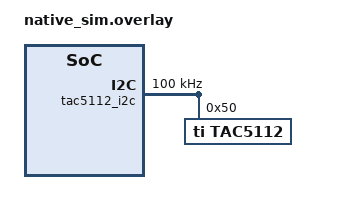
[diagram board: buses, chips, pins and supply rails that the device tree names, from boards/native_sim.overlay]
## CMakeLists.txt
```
# Copyright (c) 2026 Nordic Semiconductor ASA
# SPDX-License-Identifier: Apache-2.0

cmake_minimum_required(VERSION 3.20.0)
find_package(Zephyr REQUIRED HINTS $ENV{ZEPHYR_BASE})
project(tac5112)

target_sources(app PRIVATE src/main.c)
```

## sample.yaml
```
sample:
  name: TAC5112 audio codec
  description: >
    Configure and drive a TI TAC5112 stereo audio codec through the Zephyr
    audio codec API: tone playback and an ADC-to-DAC loopback. Runs on the
    Nordic nRF54LM20 DK (TDM) or nRF5340 DK (I2S) against a real codec, or
    on native_sim against the mock.

common:
  tags:
    - audio
    - codec
  harness: console
  harness_config:
    type: one_line
    regex:
      - "TAC5112 sample complete"

tests:
  sample.drivers.audio.tac5112:
    platform_allow:
      - native_sim
      - native_sim/native/64
      - nrf54lm20dk/nrf54lm20a/cpuapp
      - nrf5340dk/nrf5340/cpuapp
      - nrf5340_audio_dk/nrf5340/cpuapp
    integration_platforms:
      - native_sim
```

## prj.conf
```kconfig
# Copyright (c) 2026 Nordic Semiconductor ASA
# SPDX-License-Identifier: Apache-2.0

CONFIG_LOG=y

CONFIG_AUDIO=y
CONFIG_AUDIO_CODEC=y
CONFIG_AUDIO_TAC5112=y

CONFIG_I2C=y
CONFIG_GPIO=y

# Needed only if you enable the optional I2S tone playback (tac5112-i2s
# alias). Harmless to leave on otherwise.
CONFIG_I2S=y
```

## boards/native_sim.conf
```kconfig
# Copyright (c) 2026 Nordic Semiconductor ASA
# SPDX-License-Identifier: Apache-2.0
#
# native_sim-only: pull in the emulation subsystem and the TAC5112 I2C mock
# so the sample runs with no physical codec.

CONFIG_EMUL=y
CONFIG_AUDIO_TAC5112_EMUL=y
```

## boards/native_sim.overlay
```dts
/*
 * Copyright (c) 2026 Nordic Semiconductor ASA
 * SPDX-License-Identifier: Apache-2.0
 *
 * Runs the sample against the software TAC5112 mock (no hardware). Declares
 * its own zephyr,i2c-emul-controller so it does not depend on the board
 * shipping an emulated I2C bus.
 */

#include <zephyr/dt-bindings/i2c/i2c.h>

/ {
	aliases {
		tac5112-0 = &tac5112;
	};

	tac5112_i2c: i2c@100 {
		status = "okay";
		compatible = "zephyr,i2c-emul-controller";
		reg = <0x100 4>;
		clock-frequency = <I2C_BITRATE_STANDARD>;
		#address-cells = <1>;
		#size-cells = <0>;

		tac5112: audio-codec@50 {
			compatible = "ti,tac5112";
			reg = <0x50>;
		};
	};
};
```

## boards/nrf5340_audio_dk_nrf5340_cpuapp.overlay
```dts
/*
 * Copyright (c) 2026 Nordic Semiconductor ASA
 * SPDX-License-Identifier: Apache-2.0
 *
 * TAC5112 on an nRF5340 Audio DK, wired to the EXT P10 codec-interface
 * connector.
 */

#include <zephyr/dt-bindings/i2c/i2c.h>
#include <zephyr/dt-bindings/gpio/gpio.h>

&i2c1 {
	status = "okay";
	clock-frequency = <I2C_BITRATE_STANDARD>;

	tac5112: audio-codec@50 {
		compatible = "ti,tac5112";
		reg = <0x50>; /* ADDR strapped to GND */
		fault-gpios = <&gpio0 19 GPIO_ACTIVE_LOW>;
	};
};

&gpio0 {
	codec-interface {
		/delete-property/ output-low;
		output-high;
	};
};

&i2s0 {
	status = "okay";
	pinctrl-0 = <&i2s0_default>;
	pinctrl-1 = <&i2s0_sleep>;
	pinctrl-names = "default", "sleep";
};

/ {
	aliases {
		tac5112-i2s = &i2s0;
	};
};
```

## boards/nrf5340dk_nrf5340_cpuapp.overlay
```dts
/*
 * Copyright (c) 2026 Nordic Semiconductor ASA
 * SPDX-License-Identifier: Apache-2.0
 *
 * TAC5112 on an nRF5340 DK.
 */

#include <zephyr/dt-bindings/i2c/i2c.h>
#include <zephyr/dt-bindings/gpio/gpio.h>

&i2c1 {
	status = "okay";
	clock-frequency = <I2C_BITRATE_STANDARD>;

	tac5112: audio-codec@50 {
		compatible = "ti,tac5112";
		reg = <0x50>; /* ADDR strapped to GND */

		/* Optional codec IRQ line. Uncomment and set to the GPIO you
		 * wired the codec's GPIO1 (interrupt output) to, active low:
		 *   fault-gpios = <&gpio1 8 GPIO_ACTIVE_LOW>;
		 */
	};
};

&pinctrl {
	i2s0_tac5112_default: i2s0_tac5112_default {
		group1 {
			/* TODO: set to your wiring. Placeholders on port 1. */
			psels = <NRF_PSEL(I2S_SCK_M, 1, 10)>,  /* BCLK  -> codec BCLK  */
				<NRF_PSEL(I2S_LRCK_M, 1, 11)>, /* LRCLK -> codec FSYNC */
				<NRF_PSEL(I2S_SDOUT, 1, 12)>,  /* SDOUT -> codec DIN   */
				<NRF_PSEL(I2S_SDIN, 1, 13)>;   /* SDIN  <- codec DOUT  */
		};
	};

	i2s0_tac5112_sleep: i2s0_tac5112_sleep {
		group1 {
			psels = <NRF_PSEL(I2S_SCK_M, 1, 10)>,
				<NRF_PSEL(I2S_LRCK_M, 1, 11)>,
				<NRF_PSEL(I2S_SDOUT, 1, 12)>,
				<NRF_PSEL(I2S_SDIN, 1, 13)>;
			low-power-enable;
		};
	};
};

&i2s0 {
	status = "okay";
	pinctrl-0 = <&i2s0_tac5112_default>;
	pinctrl-1 = <&i2s0_tac5112_sleep>;
	pinctrl-names = "default", "sleep";
};

/ {
	aliases {
		tac5112-i2s = &i2s0;
	};
};
```

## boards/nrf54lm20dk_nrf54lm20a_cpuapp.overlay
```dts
/*
 * Copyright (c) 2026 Nordic Semiconductor ASA
 * SPDX-License-Identifier: Apache-2.0
 *
 * Wires a physical TAC5112 to the nRF54LM20 DK for this sample: control
 * over the &i2c22 TWIM instance, with optional reset and fault GPIOs.
 */

#include <zephyr/dt-bindings/i2c/i2c.h>
#include <zephyr/dt-bindings/gpio/gpio.h>

&pinctrl {
	i2c22_tac5112_default: i2c22_tac5112_default {
		group1 {
			psels = <NRF_PSEL(TWIM_SCL, 1, 7)>,
				<NRF_PSEL(TWIM_SDA, 1, 6)>;
			bias-pull-up;
		};
	};

	i2c22_tac5112_sleep: i2c22_tac5112_sleep {
		group1 {
			psels = <NRF_PSEL(TWIM_SCL, 1, 7)>,
				<NRF_PSEL(TWIM_SDA, 1, 6)>;
			low-power-enable;
		};
	};
};

&i2c22 {
	status = "okay";
	compatible = "nordic,nrf-twim";
	clock-frequency = <I2C_BITRATE_STANDARD>;
	pinctrl-0 = <&i2c22_tac5112_default>;
	pinctrl-1 = <&i2c22_tac5112_sleep>;
	pinctrl-names = "default", "sleep";

	tac5112: audio-codec@50 {
		compatible = "ti,tac5112";
		reg = <0x50>;
		fault-gpios = <&gpio3 2 GPIO_ACTIVE_LOW>;
	};
};

&pinctrl {
	tdm_tac5112_default: tdm_tac5112_default {
		group1 {
			psels = <NRF_PSEL(TDM_SCK_M, 1, 3)>,
				<NRF_PSEL(TDM_FSYNC_M, 1, 0)>,
				<NRF_PSEL(TDM_SDOUT, 1, 13)>,
				/* codec DOUT (ADC data) -> nRF SDIN: EXP C4 -> P1.05 */
				<NRF_PSEL(TDM_SDIN, 1, 5)>;
		};
	};

	tdm_tac5112_sleep: tdm_tac5112_sleep {
		group1 {
			psels = <NRF_PSEL(TDM_SCK_M, 1, 3)>,
				<NRF_PSEL(TDM_FSYNC_M, 1, 0)>,
				<NRF_PSEL(TDM_SDOUT, 1, 13)>,
				/* codec DOUT (ADC data) -> nRF SDIN: EXP C4 -> P1.05 */
				<NRF_PSEL(TDM_SDIN, 1, 5)>;
			low-power-enable;
		};
	};
};

&tdm {
	status = "okay";
	pinctrl-0 = <&tdm_tac5112_default>;
	pinctrl-1 = <&tdm_tac5112_sleep>;
	pinctrl-names = "default", "sleep";
};

/ {
	aliases {
		tac5112-i2s = &tdm;
	};
};
```

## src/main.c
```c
/*
 * Copyright (c) 2026 Nordic Semiconductor ASA
 *
 * SPDX-License-Identifier: Apache-2.0
 *
 * Sample application for the Texas Instruments TAC5112 stereo audio codec,
 * driven through the standard Zephyr audio codec interface
 * (<zephyr/audio/codec.h>). It targets a Nordic nRF54LM20 DK controlling
 * the codec over I2C; the codec is selected from the devicetree by
 * compatible, so the same source runs unmodified against the software I2C
 * mock on native_sim.
 *
 * The sample walks the codec control surface the driver implements:
 *   1. register a fault callback,
 *   2. configure the audio serial interface (I2S target, 48 kHz, stereo,
 *      16-bit) -- this also brings the codec out of reset/sleep and runs
 *      the recommended automatic PLL/clock configuration,
 *   3. set the output volume and unmute,
 *   4. power up the DAC (start_output),
 *   5. optionally stream a 1 kHz test tone over I2S (see TONE section),
 *   6. demonstrate a volume ramp and a mute/unmute cycle,
 *   7. power down (stop_output).
 *
 * Only the public codec API is used -- the private driver header
 * (tac5112.h) is intentionally NOT included.
 */

#include <zephyr/kernel.h>
#include <zephyr/device.h>
#include <zephyr/audio/codec.h>
#include <zephyr/drivers/i2s.h>
#include <zephyr/logging/log.h>

LOG_MODULE_REGISTER(tac5112_sample, LOG_LEVEL_INF);

#if !DT_HAS_COMPAT_STATUS_OKAY(ti_tac5112)
#error "No enabled ti,tac5112 node in the devicetree. " \
       "Add the board overlay (see boards/ and README.rst)."
#endif

/* Pick the (single) enabled TAC5112 straight from the devicetree. */
#define CODEC_NODE DT_COMPAT_GET_ANY_STATUS_OKAY(ti_tac5112)

/* The codec/driver expresses volume in 0.5 dB steps (val.vol == dB * 2). */
#define HALF_DB(db) ((int)((db) * 2))

/* Audio serial interface parameters shared by the codec and (optionally)
 * the I2S peripheral feeding it.
 */
#define AUDIO_SAMPLE_RATE_HZ 48000U
#define AUDIO_WORD_BITS      16U
#define AUDIO_CHANNELS       2U

static const struct device *const codec = DEVICE_DT_GET(CODEC_NODE);

/*
 * ---------------------------------------------------------------------
 * Fault handling
 * ---------------------------------------------------------------------
 */
static void codec_fault_handler(const struct device *dev, uint32_t errors)
{
	/* Runs from the driver's workqueue context when the codec asserts its
	 * fault/IRQ line. On the nRF54LM20 DK that line is the codec's GPIO1,
	 * wired via EXP D2 -> P3.02 (fault-gpios in the overlay); the driver
	 * enables the output short-circuit / virtual-ground fault interrupts
	 * in audio_codec_configure().
	 */
	LOG_ERR("codec reported fault(s): 0x%08x", errors);

	if (errors & AUDIO_CODEC_ERROR_OVERCURRENT) {
		LOG_ERR("  - output over-current / short circuit");
	}
	if (errors & AUDIO_CODEC_ERROR_DC) {
		LOG_ERR("  - output DC / virtual-ground fault");
	}
	if (errors & AUDIO_CODEC_ERROR_UNDERVOLTAGE) {
		LOG_ERR("  - supply under-voltage / brown-out");
	}

	/* Acknowledge the fault: read-clears the codec's latched fault
	 * registers so it de-asserts the IRQ line and can flag the next event.
	 * Safe to call here -- the driver invokes this callback without holding
	 * its internal lock.
	 */
	(void)audio_codec_clear_errors(dev);
}

/*
 * ---------------------------------------------------------------------
 * Codec setup
 * ---------------------------------------------------------------------
 */
static int codec_setup(void)
{
	struct audio_codec_cfg cfg = {0};
	int ret;

	/* ASI target mode: the host (nRF I2S or the mock) drives BCLK/FSYNC. */
	cfg.mclk_freq = 0U;
	cfg.dai_type = AUDIO_DAI_TYPE_I2S;
	cfg.dai_route = AUDIO_ROUTE_PLAYBACK;
	cfg.dai_cfg.i2s.word_size = AUDIO_WORD_BITS;
	cfg.dai_cfg.i2s.channels = AUDIO_CHANNELS;
	cfg.dai_cfg.i2s.format = I2S_FMT_DATA_FORMAT_I2S;
	cfg.dai_cfg.i2s.options = I2S_OPT_BIT_CLK_TARGET | I2S_OPT_FRAME_CLK_TARGET;
	cfg.dai_cfg.i2s.frame_clk_freq = AUDIO_SAMPLE_RATE_HZ;

	ret = audio_codec_configure(codec, &cfg);
	if (ret != 0) {
		LOG_ERR("audio_codec_configure() failed (%d)", ret);
		return ret;
	}

	LOG_INF("codec configured: I2S target, %u Hz, %u-bit, %u ch",
		AUDIO_SAMPLE_RATE_HZ, AUDIO_WORD_BITS, AUDIO_CHANNELS);
	return 0;
}

static int codec_set_volume(int half_db)
{
	audio_property_value_t val;
	int ret;

	val.vol = half_db;
	ret = audio_codec_set_property(codec, AUDIO_PROPERTY_OUTPUT_VOLUME,
				       AUDIO_CHANNEL_ALL, val);
	if (ret != 0) {
		LOG_ERR("set output volume %d (0.5 dB) failed (%d)", half_db, ret);
		return ret;
	}

	return audio_codec_apply_properties(codec);
}

static int codec_set_mute(bool mute)
{
	audio_property_value_t val;
	int ret;

	val.mute = mute;
	ret = audio_codec_set_property(codec, AUDIO_PROPERTY_OUTPUT_MUTE,
				       AUDIO_CHANNEL_ALL, val);
	if (ret != 0) {
		LOG_ERR("%s failed (%d)", mute ? "mute" : "unmute", ret);
		return ret;
	}

	return audio_codec_apply_properties(codec);
}

/*
 * ---------------------------------------------------------------------
 * Optional: stream a 1 kHz test tone over I2S.
 *
 * Enabled only when an "tac5112-i2s" devicetree alias points at the I2S
 * peripheral wired to the codec (BCLK/FSYNC/DIN). The nRF I2S acts as the
 * clock controller (master); the codec is the ASI target, matching
 * codec_setup() above. If the alias is absent this whole section compiles
 * out and the sample runs the control-only demo.
 * ---------------------------------------------------------------------
 */
#if DT_NODE_EXISTS(DT_ALIAS(tac5112_i2s))

#include <math.h>

#define I2S_TX_NODE       DT_ALIAS(tac5112_i2s)
#define TONE_FREQ_HZ      1000U
#define SAMPLES_PER_BLOCK (AUDIO_SAMPLE_RATE_HZ / 100U) /* 10 ms of frames */
#define BLOCK_BYTES       (SAMPLES_PER_BLOCK * AUDIO_CHANNELS * (AUDIO_WORD_BITS / 8U))
#define BLOCK_COUNT       8U
#define TONE_BLOCKS       100U /* ~1 second */

K_MEM_SLAB_DEFINE_STATIC(tone_slab, BLOCK_BYTES, BLOCK_COUNT, 4);

/* Queue this many blocks before START. Must be >= 2 (the nRF TDM DMA is
 * double-buffered and underruns immediately if started with fewer) and
 * <= BLOCK_COUNT.
 */
#define PRIME_BLOCKS 3U

/* SAMPLES_PER_BLOCK (480) is exactly 10 full 1 kHz cycles at 48 kHz, so
 * every block is identical and phase-continuous. Precompute it once and
 * just copy it into each DMA buffer; this keeps the per-block fill trivial
 * so the CPU never falls behind the DMA and causes an underrun.
 */
static int16_t tone_block[SAMPLES_PER_BLOCK * AUDIO_CHANNELS];

static void tone_block_init(void)
{
	for (uint32_t i = 0; i < SAMPLES_PER_BLOCK; i++) {
		double t = (double)i / (double)AUDIO_SAMPLE_RATE_HZ;
		int16_t s = (int16_t)(0.25 * 32767.0 *
				      sin(2.0 * 3.14159265358979 * TONE_FREQ_HZ * t));

		tone_block[2U * i] = s;      /* left  */
		tone_block[2U * i + 1U] = s; /* right */
	}
}

static void fill_tone_block(int16_t *buf)
{
	for (uint32_t i = 0; i < SAMPLES_PER_BLOCK * AUDIO_CHANNELS; i++) {
		buf[i] = tone_block[i];
	}
}

static int play_test_tone(void)
{
	const struct device *i2s_dev = DEVICE_DT_GET(I2S_TX_NODE);
	struct i2s_config i2s_cfg = {
		.word_size = AUDIO_WORD_BITS,
		.channels = AUDIO_CHANNELS,
		.format = I2S_FMT_DATA_FORMAT_I2S,
		/* nRF TDM generates the clocks (controller); codec is the target. */
		.options = I2S_OPT_BIT_CLK_CONTROLLER | I2S_OPT_FRAME_CLK_CONTROLLER,
		.frame_clk_freq = AUDIO_SAMPLE_RATE_HZ,
		.mem_slab = &tone_slab,
		.block_size = BLOCK_BYTES,
		.timeout = 2000,
	};
	bool started = false;
	int ret;

	if (!device_is_ready(i2s_dev)) {
		LOG_ERR("I2S device %s not ready", i2s_dev->name);
		return -ENODEV;
	}

	ret = i2s_configure(i2s_dev, I2S_DIR_TX, &i2s_cfg);
	if (ret != 0) {
		LOG_ERR("i2s_configure() failed (%d)", ret);
		return ret;
	}

	tone_block_init();
	LOG_INF("streaming %u Hz tone for ~1 s", TONE_FREQ_HZ);

	for (uint32_t b = 0; b < TONE_BLOCKS; b++) {
		void *block;

		ret = k_mem_slab_alloc(&tone_slab, &block, K_MSEC(200));
		if (ret != 0) {
			LOG_ERR("tone slab alloc failed (%d)", ret);
			return ret;
		}

		fill_tone_block((int16_t *)block);

		ret = i2s_write(i2s_dev, block, BLOCK_BYTES);
		if (ret != 0) {
			LOG_ERR("i2s_write() failed (%d)", ret);
			k_mem_slab_free(&tone_slab, block);
			return ret;
		}

		/* Start only once several blocks are queued, so the DMA always
		 * has data ready and never underruns into the ERROR state.
		 */
		if (!started && (b == PRIME_BLOCKS - 1U)) {
			ret = i2s_trigger(i2s_dev, I2S_DIR_TX, I2S_TRIGGER_START);
			if (ret != 0) {
				LOG_ERR("I2S start trigger failed (%d)", ret);
				return ret;
			}
			started = true;
		}
	}

	/* Tone shorter than the prime count: start what we queued. */
	if (!started) {
		ret = i2s_trigger(i2s_dev, I2S_DIR_TX, I2S_TRIGGER_START);
		if (ret != 0) {
			LOG_ERR("I2S start trigger failed (%d)", ret);
			return ret;
		}
	}

	/* Let the queued blocks drain out of the peripheral. */
	ret = i2s_trigger(i2s_dev, I2S_DIR_TX, I2S_TRIGGER_DRAIN);
	if (ret != 0) {
		LOG_ERR("I2S drain trigger failed (%d)", ret);
	}

	/* DRAIN is asynchronous: the TDM stays in the STOPPING state until the
	 * last queued block finishes transmitting. Wait long enough for every
	 * in-flight block to play out and the peripheral to return to READY,
	 * so a following i2s_configure() (e.g. the loopback) isn't rejected
	 * with -EINVAL ("Cannot configure in state: 3").
	 */
	k_msleep((BLOCK_COUNT * 10U) + 50U); /* block period is 10 ms */

	return ret;
}

/* Duration of the ADC -> DAC loopback demo. */
#define LOOPBACK_SECONDS 10U
#define LOOPBACK_BLOCKS  (LOOPBACK_SECONDS * 100U) /* 10 ms blocks */

/**
 * @brief Exercise output volume and mute on the *live* passthrough audio,
 * scheduled by block index (100 blocks = 1 s):
 *   0-2 s : 0 dB          4-6 s : ramp -40 -> 0 dB
 *   2-4 s : ramp 0->-40dB 6-8 s : muted        8-10 s : unmuted, 0 dB
 *
 * Writes to the codec over I2C only when the target actually changes, so it
 * never delays the TDM read/write cadence enough to under/overrun.
 */
static void loopback_demo_step(uint32_t b)
{
	static int last_vol_db = 999; /* impossible dB -> forces first write */
	static int last_mute = -1;
	int vol_db = 0;
	bool mute = false;

	if (b < 200U) {           /* 0-2 s: full-volume passthrough */
		vol_db = 0;
	} else if (b < 400U) {    /* 2-4 s: ramp down to -40 dB */
		vol_db = -((int)(b - 200U) * 40 / 200);
	} else if (b < 600U) {    /* 4-6 s: ramp back up to 0 dB */
		vol_db = -40 + (int)(b - 400U) * 40 / 200;
	} else if (b < 800U) {    /* 6-8 s: muted */
		mute = true;
	} else {                  /* 8-10 s: unmuted, 0 dB */
		vol_db = 0;
	}

	if ((int)mute != last_mute) {
		(void)codec_set_mute(mute);
		LOG_INF("loopback: %s", mute ? "mute" : "unmute");
		last_mute = mute;
	}
	if (!mute && (vol_db != last_vol_db)) {
		(void)codec_set_volume(HALF_DB(vol_db));
		if ((vol_db % 10) == 0) {
			LOG_INF("loopback: output volume %d dB", vol_db);
		}
		last_vol_db = vol_db;
	}
}

/**
 * @brief Full-duplex passthrough: capture from the codec ADC over the TDM
 * RX line (SDIN) and send it straight back to the codec DAC over the TDM
 * TX line (SDOUT), sharing one BCLK/FSYNC.
 *
 * Whatever analog signal is present on the codec inputs (line-in / mic on
 * the EB) is digitised, looped through the nRF, and played back on the
 * codec outputs. The codec record path is already powered by
 * codec_configure() (ADC_PDZ + input channels enabled), and the DAC by
 * audio_codec_start_output().
 */
static int run_loopback(void)
{
	const struct device *i2s_dev = DEVICE_DT_GET(I2S_TX_NODE);
	struct i2s_config cfg = {
		.word_size = AUDIO_WORD_BITS,
		.channels = AUDIO_CHANNELS,
		.format = I2S_FMT_DATA_FORMAT_I2S,
		.options = I2S_OPT_BIT_CLK_CONTROLLER | I2S_OPT_FRAME_CLK_CONTROLLER,
		.frame_clk_freq = AUDIO_SAMPLE_RATE_HZ,
		.mem_slab = &tone_slab,
		.block_size = BLOCK_BYTES,
		.timeout = 2000,
	};
	int ret;

	if (!device_is_ready(i2s_dev)) {
		LOG_ERR("I2S device %s not ready", i2s_dev->name);
		return -ENODEV;
	}

	/* Configure RX (codec ADC -> SDIN) and TX (SDOUT -> codec DAC) together. */
	ret = i2s_configure(i2s_dev, I2S_DIR_BOTH, &cfg);
	if (ret != 0) {
		LOG_ERR("i2s_configure(BOTH) failed (%d)", ret);
		return ret;
	}

	/* Prime the TX side with silence so it has data the moment it starts. */
	for (uint32_t i = 0; i < PRIME_BLOCKS; i++) {
		void *block;

		ret = k_mem_slab_alloc(&tone_slab, &block, K_MSEC(200));
		if (ret != 0) {
			LOG_ERR("loopback prime alloc failed (%d)", ret);
			return ret;
		}
		for (uint32_t j = 0; j < SAMPLES_PER_BLOCK * AUDIO_CHANNELS; j++) {
			((int16_t *)block)[j] = 0;
		}
		ret = i2s_write(i2s_dev, block, BLOCK_BYTES);
		if (ret != 0) {
			LOG_ERR("loopback prime write failed (%d)", ret);
			k_mem_slab_free(&tone_slab, block);
			return ret;
		}
	}

	ret = i2s_trigger(i2s_dev, I2S_DIR_BOTH, I2S_TRIGGER_START);
	if (ret != 0) {
		LOG_ERR("loopback START failed (%d)", ret);
		return ret;
	}

	LOG_INF("ADC->DAC loopback for %u s (varying output volume + mute)",
		LOOPBACK_SECONDS);

	for (uint32_t b = 0; b < LOOPBACK_BLOCKS; b++) {
		void *block;
		size_t size;

		/* Pull one captured block in from the ADC ... */
		ret = i2s_read(i2s_dev, &block, &size);
		if (ret != 0) {
			LOG_ERR("i2s_read() failed (%d)", ret);
			break;
		}
		/* ... and hand the same buffer straight to the DAC. The driver
		 * frees it once transmitted (zero-copy passthrough).
		 */
		ret = i2s_write(i2s_dev, block, size);
		if (ret != 0) {
			LOG_ERR("i2s_write() failed (%d)", ret);
			k_mem_slab_free(&tone_slab, block);
			break;
		}

		/* Adjust volume/mute so the changes are audible on the live
		 * passthrough. Done after i2s_write (not between read and write)
		 * to keep TX fed.
		 */
		loopback_demo_step(b);
	}

	/* Stop both directions and discard anything still queued. */
	(void)i2s_trigger(i2s_dev, I2S_DIR_BOTH, I2S_TRIGGER_DROP);

	return ret;
}

#else /* no I2S alias */

static int play_test_tone(void)
{
	LOG_INF("no tac5112-i2s alias in devicetree; skipping tone playback "
		"(control-only demo)");
	return 0;
}

static int run_loopback(void)
{
	LOG_INF("no tac5112-i2s alias in devicetree; skipping ADC->DAC loopback");
	return 0;
}

#endif /* DT_NODE_EXISTS(DT_ALIAS(tac5112_i2s)) */

/*
 * ---------------------------------------------------------------------
 * Demo sequence
 * ---------------------------------------------------------------------
 */
int main(void)
{
	int ret;

	LOG_INF("TAC5112 audio codec sample");

	if (!device_is_ready(codec)) {
		LOG_ERR("codec device %s not ready", codec->name);
		return 0;
	}

	ret = audio_codec_register_error_callback(codec, codec_fault_handler);
	if (ret != 0) {
		LOG_WRN("register_error_callback() returned %d", ret);
	}

	if (codec_setup() != 0) {
		return 0;
	}

	/* Start at 0 dB, unmuted, then power up the DAC. */
	if (codec_set_volume(HALF_DB(0)) != 0 || codec_set_mute(false) != 0) {
		return 0;
	}

	audio_codec_start_output(codec);
	LOG_INF("output enabled");

	(void)play_test_tone();

	/* Loop the codec's analog input back to its output, varying the output
	 * volume and mute so those controls are audible on the live audio.
	 */
	(void)run_loopback();

#if !DT_NODE_EXISTS(DT_ALIAS(tac5112_i2s))
	/* Control-only build (no TDM audio path, e.g. native_sim): still
	 * exercise volume and mute over I2C. When the audio path is present,
	 * run_loopback() already demonstrates these audibly.
	 */
	LOG_INF("volume ramp down/up");
	for (int db = 0; db >= -20; db -= 2) {
		(void)codec_set_volume(HALF_DB(db));
		k_msleep(100);
	}
	for (int db = -20; db <= 0; db += 2) {
		(void)codec_set_volume(HALF_DB(db));
		k_msleep(100);
	}

	LOG_INF("mute");
	(void)codec_set_mute(true);
	k_msleep(500);
	LOG_INF("unmute");
	(void)codec_set_mute(false);
	k_msleep(500);
#endif

	audio_codec_stop_output(codec);
	LOG_INF("output disabled");

	/* Clear any latched faults accumulated during the demo. */
	(void)audio_codec_clear_errors(codec);

	LOG_INF("TAC5112 sample complete");
	return 0;
}
```
